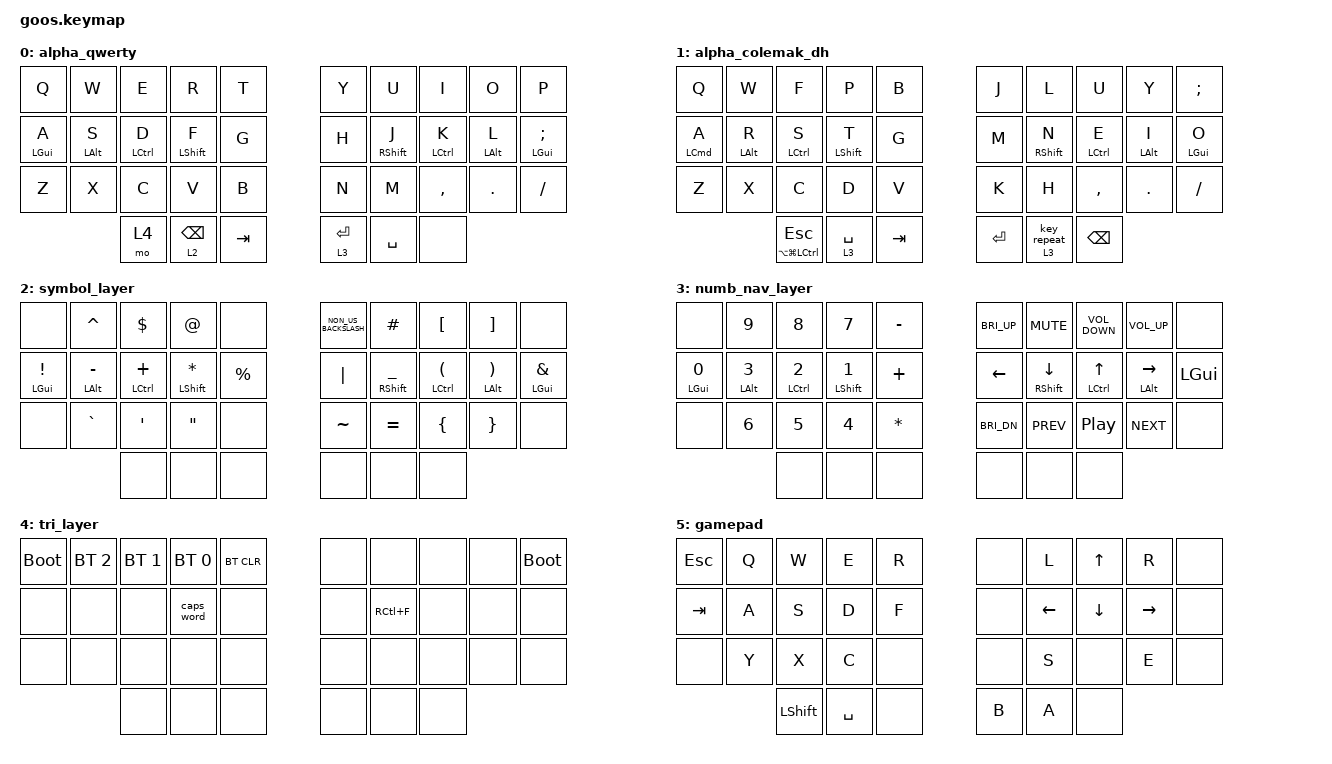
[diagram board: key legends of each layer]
/*
 * Copyright (c) 2021 The ZMK Contributors
 *
 * SPDX-License-Identifier: MIT
 */

#include <behaviors.dtsi>
#include <dt-bindings/zmk/bt.h>
#include <dt-bindings/zmk/keys.h>

&lt { flavor = "hold-preferred"; };

/ {
    conditional_layers {
        compatible = "zmk,conditional-layers";

        Tri {
            if-layers = <2 3>;
            then-layer = <4>;
        };
    };

    behaviors {
        hrm: home_row_mods {
            compatible = "zmk,behavior-hold-tap";
            label = "HOME_ROW_MODS";
            #binding-cells = <2>;
            flavor = "balanced";
            tapping-term-ms = <200>;
            bindings = <&kp>, <&kp>;

            quick-tap-ms = <250>;
        };

        lt_repeat: lt_repeat {
            compatible = "zmk,behavior-hold-tap";
            label = "LT_REPEAT";
            bindings = <&mo>, <&key_repeat>;

            #binding-cells = <2>;
            flavor = "hold-preferred";
            tapping-term-ms = <200>;
            quick-tap-ms = <200>;
        };

        lt_new: lt_new {
            compatible = "zmk,behavior-hold-tap";
            label = "LT_NEW";
            bindings = <&mo>, <&kp>;

            #binding-cells = <2>;
            tapping-term-ms = <200>;
            quick-tap-ms = <250>;
            flavor = "balanced";
        };
    };

    combos {
        compatible = "zmk,combos";

        Gamepad {
            bindings = <&tog 5>;
            key-positions = <9 29>;
        };

        toggle_layout {
            bindings = <&tog 1>;
            key-positions = <0 20>;
        };

        vim_save {
            bindings = <&vim_save>;
            key-positions = <21 22>;
            layers = <2>;
        };

        escape {
            bindings = <&kp ESCAPE>;
            key-positions = <6 7>;
        };

        caps {
            bindings = <&caps_word>;
            key-positions = <26 27>;
        };
    };

    macros {
        vim_save: vim_save {
            compatible = "zmk,behavior-macro";
            #binding-cells = <0>;
            bindings = <&kp ESCAPE &kp COLON &kp W &kp ENTER &kp S &kp K &kp I &kp L &kp L &kp SPACE &kp I &kp S &kp S &kp U &kp E>;
            label = "VIM_SAVE";
            wait-ms = <50>;
        };
    };

    keymap {
        compatible = "zmk,keymap";

        alpha_qwerty {
            bindings = <
&kp Q            &kp W            &kp E                &kp R              &kp T                                        &kp Y      &kp U               &kp I                &kp O            &kp P
&hrm LEFT_GUI A  &hrm LEFT_ALT S  &hrm LEFT_CONTROL D  &hrm LEFT_SHIFT F  &kp G                                        &kp H      &hrm RIGHT_SHIFT J  &hrm LEFT_CONTROL K  &hrm LEFT_ALT L  &hrm LEFT_GUI SEMICOLON
&kp Z            &kp X            &kp C                &kp V              &kp B                                        &kp N      &kp M               &kp COMMA            &kp DOT          &kp SLASH
                                                       &mo 4              &lt_new 2 BACKSPACE  &kp TAB    &lt 3 ENTER  &kp SPACE  &none
            >;
        };

        alpha_colemak_dh {
            bindings = <
&kp Q                &kp W            &kp F                &kp P                          &kp B                              &kp J           &kp L               &kp U                &kp Y            &kp SEMICOLON
&hrm LEFT_COMMAND A  &hrm LEFT_ALT R  &hrm LEFT_CONTROL S  &hrm LEFT_SHIFT T              &kp G                              &kp M           &hrm RIGHT_SHIFT N  &hrm LEFT_CONTROL E  &hrm LEFT_ALT I  &hrm LEFT_GUI O
&kp Z                &kp X            &kp C                &kp D                          &kp V                              &kp K           &kp H               &kp COMMA            &kp DOT          &kp SLASH
                                                           &hrm LA(LG(LEFT_CONTROL)) ESC  &lt 3 SPACE  &kp TAB    &kp ENTER  &lt_repeat 3 0  &kp BSPC
            >;
        };

        Symbol {
            bindings = <
&none                      &kp CARET            &kp DOLLAR              &kp AT                    &none                        &kp NON_US_BACKSLASH  &kp POUND                    &kp LEFT_BRACKET                    &kp RIGHT_BRACKET                &none
&hrm LEFT_GUI EXCLAMATION  &hrm LEFT_ALT MINUS  &hrm LEFT_CONTROL PLUS  &hrm LEFT_SHIFT ASTERISK  &kp PERCENT                  &kp PIPE              &hrm RIGHT_SHIFT UNDERSCORE  &hrm LEFT_CONTROL LEFT_PARENTHESIS  &hrm LEFT_ALT RIGHT_PARENTHESIS  &hrm LEFT_GUI AMPERSAND
&none                      &kp GRAVE            &kp SINGLE_QUOTE        &kp DOUBLE_QUOTES         &none                        &kp TILDE             &kp EQUAL                    &kp LEFT_BRACE                      &kp RIGHT_BRACE                  &none
                                                                        &none                     &none        &none    &none  &none                 &none
            >;

            label = "symbol_layer";
        };

        Numbers_Navigation {
            bindings = <
&none             &kp NUMBER_9      &kp NUMBER_8          &kp NUMBER_7        &kp MINUS                  &kp C_BRI_UP  &kp C_MUTE             &kp C_VOLUME_DOWN     &kp C_VOLUME_UP      &none
&hrm LEFT_GUI N0  &hrm LEFT_ALT N3  &hrm LEFT_CONTROL N2  &hrm LEFT_SHIFT N1  &kp PLUS                   &kp LEFT      &hrm RIGHT_SHIFT DOWN  &hrm LEFT_CONTROL UP  &hrm LEFT_ALT RIGHT  &kp LEFT_GUI
&none             &kp NUMBER_6      &kp NUMBER_5          &kp NUMBER_4        &kp STAR                   &kp C_BRI_DN  &kp C_PREV             &kp C_PP              &kp C_NEXT           &none
                                                          &none               &none      &none    &none  &none         &none
            >;

            label = "numb_nav_layer";
        };

        Tri {
            bindings = <
&bootloader  &bt BT_SEL 2  &bt BT_SEL 1  &bt BT_SEL 0  &bt BT_CLR                  &none  &none      &none  &none  &bootloader
&none        &none         &none         &caps_word    &none                       &none  &kp RC(F)  &none  &none  &none
&none        &none         &none         &none         &none                       &none  &none      &none  &none  &none
                                         &none         &none       &none    &none  &none  &none
            >;

            label = "tri_layer";
        };

        gamepad {
            bindings = <
&kp ESC  &kp Q  &kp W  &kp E      &kp R                      &none  &kp L     &kp UP    &kp R      &none
&kp TAB  &kp A  &kp S  &kp D      &kp F                      &none  &kp LEFT  &kp DOWN  &kp RIGHT  &none
&none    &kp Y  &kp X  &kp C      &none                      &none  &kp S     &none     &kp E      &none
                       &kp LSHFT  &kp SPACE  &none    &kp B  &kp A  &none
            >;
        };
    };
};
